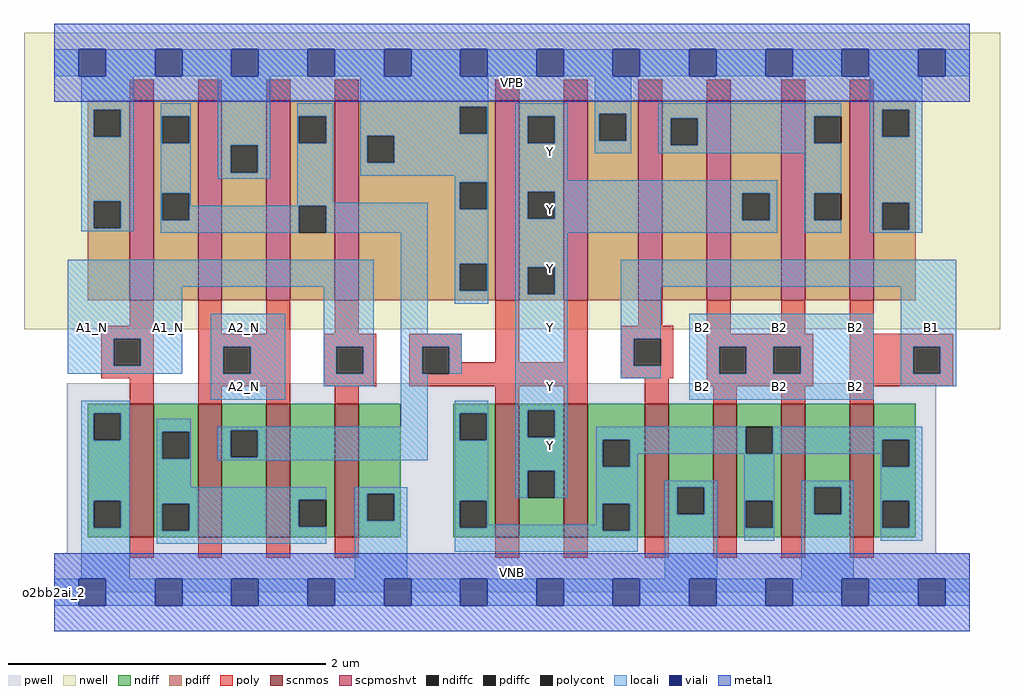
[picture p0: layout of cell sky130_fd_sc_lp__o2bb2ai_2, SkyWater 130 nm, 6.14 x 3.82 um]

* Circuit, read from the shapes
.subckt sky130_fd_sc_lp__o2bb2ai_2 A1_N A2_N B1 B2 VGND VNB VPB VPWR Y
XM1 n1 A1_N VGND VNB sky130_fd_pr__nfet_01v8 w=0.84 l=0.15 m=2
XM2 n2 A2_N n1 VNB sky130_fd_pr__nfet_01v8 w=0.84 l=0.15 m=2
XM3 Y n2 n3 VNB sky130_fd_pr__nfet_01v8 w=0.84 l=0.15 m=2
XM4 VGND B1 n3 VNB sky130_fd_pr__nfet_01v8 w=0.84 l=0.15 m=2
XM5 n3 B2 VGND VNB sky130_fd_pr__nfet_01v8 w=0.84 l=0.15 m=2
XM6 n2 A1_N VPWR VPB sky130_fd_pr__pfet_01v8_hvt w=1.26 l=0.15 m=2
XM7 VPWR A2_N n2 VPB sky130_fd_pr__pfet_01v8_hvt w=1.26 l=0.15 m=2
XM8 Y n2 VPWR VPB sky130_fd_pr__pfet_01v8_hvt w=1.26 l=0.15 m=2
XM9 n4 B1 VPWR VPB sky130_fd_pr__pfet_01v8_hvt w=1.26 l=0.15 m=2
XM10 Y B2 n4 VPB sky130_fd_pr__pfet_01v8_hvt w=1.26 l=0.15 m=2
.ends

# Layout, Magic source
magic
tech sky130A
magscale 1 2
<< nwell >>
rect -38 331 1190 704
<< pwell >>
rect 16 49 1110 263
rect 0 0 1152 49
<< scnmos >>
rect 95 69 125 237
rect 181 69 211 237
rect 267 69 297 237
rect 353 69 383 237
rect 555 69 585 237
rect 641 69 671 237
rect 743 69 773 237
rect 829 69 859 237
rect 915 69 945 237
rect 1001 69 1031 237
<< scpmoshvt >>
rect 95 367 125 619
rect 181 367 211 619
rect 267 367 297 619
rect 353 367 383 619
rect 555 367 585 619
rect 641 367 671 619
rect 735 367 765 619
rect 821 367 851 619
rect 915 367 945 619
rect 1001 367 1031 619
<< ndiff >>
rect 42 225 95 237
rect 42 191 50 225
rect 84 191 95 225
rect 42 115 95 191
rect 42 81 50 115
rect 84 81 95 115
rect 42 69 95 81
rect 125 202 181 237
rect 125 168 136 202
rect 170 168 181 202
rect 125 111 181 168
rect 125 77 136 111
rect 170 77 181 111
rect 125 69 181 77
rect 211 204 267 237
rect 211 170 222 204
rect 256 170 267 204
rect 211 69 267 170
rect 297 116 353 237
rect 297 82 308 116
rect 342 82 353 116
rect 297 69 353 82
rect 383 124 436 237
rect 383 90 394 124
rect 428 90 436 124
rect 383 69 436 90
rect 502 225 555 237
rect 502 191 510 225
rect 544 191 555 225
rect 502 115 555 191
rect 502 81 510 115
rect 544 81 555 115
rect 502 69 555 81
rect 585 229 641 237
rect 585 195 596 229
rect 630 195 641 229
rect 585 153 641 195
rect 585 119 596 153
rect 630 119 641 153
rect 585 69 641 119
rect 671 192 743 237
rect 671 158 690 192
rect 724 158 743 192
rect 671 111 743 158
rect 671 77 690 111
rect 724 77 743 111
rect 671 69 743 77
rect 773 132 829 237
rect 773 98 784 132
rect 818 98 829 132
rect 773 69 829 98
rect 859 208 915 237
rect 859 174 870 208
rect 904 174 915 208
rect 859 115 915 174
rect 859 81 870 115
rect 904 81 915 115
rect 859 69 915 81
rect 945 132 1001 237
rect 945 98 956 132
rect 990 98 1001 132
rect 945 69 1001 98
rect 1031 192 1084 237
rect 1031 158 1042 192
rect 1076 158 1084 192
rect 1031 115 1084 158
rect 1031 81 1042 115
rect 1076 81 1084 115
rect 1031 69 1084 81
<< pdiff >>
rect 42 607 95 619
rect 42 573 50 607
rect 84 573 95 607
rect 42 492 95 573
rect 42 458 50 492
rect 84 458 95 492
rect 42 367 95 458
rect 125 599 181 619
rect 125 565 136 599
rect 170 565 181 599
rect 125 502 181 565
rect 125 468 136 502
rect 170 468 181 502
rect 125 367 181 468
rect 211 562 267 619
rect 211 528 222 562
rect 256 528 267 562
rect 211 367 267 528
rect 297 599 353 619
rect 297 565 308 599
rect 342 565 353 599
rect 297 486 353 565
rect 297 452 308 486
rect 342 452 353 486
rect 297 367 353 452
rect 383 611 555 619
rect 383 577 510 611
rect 544 577 555 611
rect 383 574 555 577
rect 383 540 394 574
rect 428 540 555 574
rect 383 516 555 540
rect 383 482 510 516
rect 544 482 555 516
rect 383 413 555 482
rect 383 379 510 413
rect 544 379 555 413
rect 383 367 555 379
rect 585 599 641 619
rect 585 565 596 599
rect 630 565 641 599
rect 585 504 641 565
rect 585 470 596 504
rect 630 470 641 504
rect 585 409 641 470
rect 585 375 596 409
rect 630 375 641 409
rect 585 367 641 375
rect 671 602 735 619
rect 671 568 686 602
rect 720 568 735 602
rect 671 367 735 568
rect 765 596 821 619
rect 765 562 776 596
rect 810 562 821 596
rect 765 367 821 562
rect 851 502 915 619
rect 851 468 866 502
rect 900 468 915 502
rect 851 367 915 468
rect 945 599 1001 619
rect 945 565 956 599
rect 990 565 1001 599
rect 945 502 1001 565
rect 945 468 956 502
rect 990 468 1001 502
rect 945 367 1001 468
rect 1031 607 1084 619
rect 1031 573 1042 607
rect 1076 573 1084 607
rect 1031 490 1084 573
rect 1031 456 1042 490
rect 1076 456 1084 490
rect 1031 367 1084 456
<< ndiffc >>
rect 50 191 84 225
rect 50 81 84 115
rect 136 168 170 202
rect 136 77 170 111
rect 222 170 256 204
rect 308 82 342 116
rect 394 90 428 124
rect 510 191 544 225
rect 510 81 544 115
rect 596 195 630 229
rect 596 119 630 153
rect 690 158 724 192
rect 690 77 724 111
rect 784 98 818 132
rect 870 174 904 208
rect 870 81 904 115
rect 956 98 990 132
rect 1042 158 1076 192
rect 1042 81 1076 115
<< pdiffc >>
rect 50 573 84 607
rect 50 458 84 492
rect 136 565 170 599
rect 136 468 170 502
rect 222 528 256 562
rect 308 565 342 599
rect 308 452 342 486
rect 510 577 544 611
rect 394 540 428 574
rect 510 482 544 516
rect 510 379 544 413
rect 596 565 630 599
rect 596 470 630 504
rect 596 375 630 409
rect 686 568 720 602
rect 776 562 810 596
rect 866 468 900 502
rect 956 565 990 599
rect 956 468 990 502
rect 1042 573 1076 607
rect 1042 456 1076 490
<< poly >>
rect 95 619 125 645
rect 181 619 211 645
rect 267 619 297 645
rect 353 619 383 645
rect 555 619 585 645
rect 641 619 671 645
rect 735 619 765 645
rect 821 619 851 645
rect 915 619 945 645
rect 1001 619 1031 645
rect 95 335 125 367
rect 59 319 125 335
rect 59 285 75 319
rect 109 285 125 319
rect 59 269 125 285
rect 95 237 125 269
rect 181 325 211 367
rect 267 325 297 367
rect 353 325 383 367
rect 181 309 297 325
rect 181 275 213 309
rect 247 275 297 309
rect 181 259 297 275
rect 339 309 405 325
rect 339 275 355 309
rect 389 275 405 309
rect 339 259 405 275
rect 447 309 513 325
rect 447 275 463 309
rect 497 289 513 309
rect 555 289 585 367
rect 641 289 671 367
rect 735 335 765 367
rect 497 275 671 289
rect 447 259 671 275
rect 713 319 779 335
rect 713 285 729 319
rect 763 285 779 319
rect 713 269 779 285
rect 821 325 851 367
rect 915 325 945 367
rect 1001 325 1031 367
rect 821 309 955 325
rect 821 275 837 309
rect 871 275 905 309
rect 939 275 955 309
rect 181 237 211 259
rect 267 237 297 259
rect 353 237 383 259
rect 555 237 585 259
rect 641 237 671 259
rect 743 237 773 269
rect 821 259 955 275
rect 1001 309 1131 325
rect 1001 275 1081 309
rect 1115 275 1131 309
rect 1001 259 1131 275
rect 829 237 859 259
rect 915 237 945 259
rect 1001 237 1031 259
rect 95 43 125 69
rect 181 43 211 69
rect 267 43 297 69
rect 353 43 383 69
rect 555 43 585 69
rect 641 43 671 69
rect 743 43 773 69
rect 829 43 859 69
rect 915 43 945 69
rect 1001 43 1031 69
<< polycont >>
rect 75 285 109 319
rect 213 275 247 309
rect 355 275 389 309
rect 463 275 497 309
rect 729 285 763 319
rect 837 275 871 309
rect 905 275 939 309
rect 1081 275 1115 309
<< locali >>
rect 0 649 31 683
rect 65 649 127 683
rect 161 649 223 683
rect 257 649 319 683
rect 353 649 415 683
rect 449 649 511 683
rect 545 649 607 683
rect 641 649 703 683
rect 737 649 799 683
rect 833 649 895 683
rect 929 649 991 683
rect 1025 649 1087 683
rect 1121 649 1152 683
rect 34 607 100 649
rect 34 573 50 607
rect 84 573 100 607
rect 34 492 100 573
rect 34 458 50 492
rect 84 458 100 492
rect 34 454 100 458
rect 134 599 172 615
rect 134 565 136 599
rect 170 565 172 599
rect 134 502 172 565
rect 206 562 272 649
rect 206 528 222 562
rect 256 528 272 562
rect 206 520 272 528
rect 306 599 351 615
rect 306 565 308 599
rect 342 565 351 599
rect 134 468 136 502
rect 170 486 172 502
rect 306 490 351 565
rect 385 611 546 649
rect 385 577 510 611
rect 544 577 546 611
rect 385 574 546 577
rect 385 540 394 574
rect 428 540 546 574
rect 385 524 546 540
rect 504 516 546 524
rect 306 486 470 490
rect 170 468 308 486
rect 134 452 308 468
rect 342 452 470 486
rect 17 384 402 418
rect 17 319 161 384
rect 17 285 75 319
rect 109 285 161 319
rect 17 275 161 285
rect 197 309 291 350
rect 197 275 213 309
rect 247 275 291 309
rect 197 242 291 275
rect 339 309 402 384
rect 339 275 355 309
rect 389 275 402 309
rect 339 259 402 275
rect 436 325 470 452
rect 504 482 510 516
rect 544 482 546 516
rect 504 413 546 482
rect 504 379 510 413
rect 544 379 546 413
rect 504 363 546 379
rect 580 599 646 615
rect 580 565 596 599
rect 630 565 646 599
rect 580 518 646 565
rect 680 602 726 649
rect 680 568 686 602
rect 720 568 726 602
rect 680 552 726 568
rect 760 599 990 615
rect 760 596 956 599
rect 760 562 776 596
rect 810 565 956 596
rect 810 562 990 565
rect 760 552 990 562
rect 580 504 910 518
rect 580 470 596 504
rect 630 502 910 504
rect 630 470 866 502
rect 580 468 866 470
rect 900 468 910 502
rect 580 452 910 468
rect 944 502 990 552
rect 944 468 956 502
rect 944 452 990 468
rect 1026 607 1092 649
rect 1026 573 1042 607
rect 1076 573 1092 607
rect 1026 490 1092 573
rect 1026 456 1042 490
rect 1076 456 1092 490
rect 1026 452 1092 456
rect 580 409 646 452
rect 580 375 596 409
rect 630 375 646 409
rect 436 309 513 325
rect 436 275 463 309
rect 497 275 513 309
rect 34 225 95 241
rect 34 191 50 225
rect 84 191 95 225
rect 34 115 95 191
rect 34 81 50 115
rect 84 81 95 115
rect 34 17 95 81
rect 129 202 172 218
rect 436 208 470 275
rect 129 168 136 202
rect 170 168 172 202
rect 129 132 172 168
rect 206 204 470 208
rect 206 170 222 204
rect 256 170 470 204
rect 206 166 470 170
rect 504 225 546 241
rect 504 191 510 225
rect 544 191 546 225
rect 129 116 342 132
rect 129 111 308 116
rect 129 77 136 111
rect 170 82 308 111
rect 170 77 342 82
rect 129 61 342 77
rect 378 124 444 132
rect 378 90 394 124
rect 428 90 444 124
rect 378 17 444 90
rect 504 115 546 191
rect 580 229 646 375
rect 713 384 1135 418
rect 713 319 763 384
rect 713 285 729 319
rect 713 269 763 285
rect 799 309 1031 350
rect 799 275 837 309
rect 871 275 905 309
rect 939 275 1031 309
rect 799 242 1031 275
rect 1065 309 1135 384
rect 1065 275 1081 309
rect 1115 275 1135 309
rect 1065 259 1135 275
rect 580 195 596 229
rect 630 195 646 229
rect 580 153 646 195
rect 580 119 596 153
rect 630 119 646 153
rect 682 192 870 208
rect 682 158 690 192
rect 724 174 870 192
rect 904 192 1092 208
rect 904 174 1042 192
rect 724 158 734 174
rect 504 81 510 115
rect 544 85 546 115
rect 682 111 734 158
rect 682 85 690 111
rect 544 81 690 85
rect 504 77 690 81
rect 724 77 734 111
rect 504 51 734 77
rect 768 132 834 140
rect 768 98 784 132
rect 818 98 834 132
rect 768 17 834 98
rect 868 115 906 174
rect 1040 158 1042 174
rect 1076 158 1092 192
rect 868 81 870 115
rect 904 81 906 115
rect 868 65 906 81
rect 940 132 1006 140
rect 940 98 956 132
rect 990 98 1006 132
rect 940 17 1006 98
rect 1040 115 1092 158
rect 1040 81 1042 115
rect 1076 81 1092 115
rect 1040 65 1092 81
rect 0 -17 31 17
rect 65 -17 127 17
rect 161 -17 223 17
rect 257 -17 319 17
rect 353 -17 415 17
rect 449 -17 511 17
rect 545 -17 607 17
rect 641 -17 703 17
rect 737 -17 799 17
rect 833 -17 895 17
rect 929 -17 991 17
rect 1025 -17 1087 17
rect 1121 -17 1152 17
<< viali >>
rect 31 649 65 683
rect 127 649 161 683
rect 223 649 257 683
rect 319 649 353 683
rect 415 649 449 683
rect 511 649 545 683
rect 607 649 641 683
rect 703 649 737 683
rect 799 649 833 683
rect 895 649 929 683
rect 991 649 1025 683
rect 1087 649 1121 683
rect 31 -17 65 17
rect 127 -17 161 17
rect 223 -17 257 17
rect 319 -17 353 17
rect 415 -17 449 17
rect 511 -17 545 17
rect 607 -17 641 17
rect 703 -17 737 17
rect 799 -17 833 17
rect 895 -17 929 17
rect 991 -17 1025 17
rect 1087 -17 1121 17
<< metal1 >>
rect 0 683 1152 715
rect 0 649 31 683
rect 65 649 127 683
rect 161 649 223 683
rect 257 649 319 683
rect 353 649 415 683
rect 449 649 511 683
rect 545 649 607 683
rect 641 649 703 683
rect 737 649 799 683
rect 833 649 895 683
rect 929 649 991 683
rect 1025 649 1087 683
rect 1121 649 1152 683
rect 0 617 1152 649
rect 0 17 1152 49
rect 0 -17 31 17
rect 65 -17 127 17
rect 161 -17 223 17
rect 257 -17 319 17
rect 353 -17 415 17
rect 449 -17 511 17
rect 545 -17 607 17
rect 641 -17 703 17
rect 737 -17 799 17
rect 833 -17 895 17
rect 929 -17 991 17
rect 1025 -17 1087 17
rect 1121 -17 1152 17
rect 0 -49 1152 -17
<< labels >>
flabel pwell s 0 0 1152 49 0 FreeSans 200 0 0 0 VNB
port 6 nsew ground bidirectional
flabel nwell s 0 617 1152 666 0 FreeSans 200 0 0 0 VPB
port 7 nsew power bidirectional
rlabel comment s 0 0 0 0 4 o2bb2ai_2
flabel metal1 s 0 617 1152 666 0 FreeSans 340 0 0 0 VPWR
port 8 nsew power bidirectional
flabel metal1 s 0 0 1152 49 0 FreeSans 340 0 0 0 VGND
port 5 nsew ground bidirectional
flabel locali s 607 168 641 202 0 FreeSans 340 0 0 0 Y
port 9 nsew signal output
flabel locali s 607 242 641 276 0 FreeSans 340 0 0 0 Y
port 9 nsew signal output
flabel locali s 607 316 641 350 0 FreeSans 340 0 0 0 Y
port 9 nsew signal output
flabel locali s 607 390 641 424 0 FreeSans 340 0 0 0 Y
port 9 nsew signal output
flabel locali s 607 464 641 498 0 FreeSans 340 0 0 0 Y
port 9 nsew signal output
flabel locali s 607 538 641 572 0 FreeSans 340 0 0 0 Y
port 9 nsew signal output
flabel locali s 223 242 257 276 0 FreeSans 340 0 0 0 A2_N
port 2 nsew signal input
flabel locali s 223 316 257 350 0 FreeSans 340 0 0 0 A2_N
port 2 nsew signal input
flabel locali s 799 242 833 276 0 FreeSans 340 0 0 0 B2
port 4 nsew signal input
flabel locali s 799 316 833 350 0 FreeSans 340 0 0 0 B2
port 4 nsew signal input
flabel locali s 895 242 929 276 0 FreeSans 340 0 0 0 B2
port 4 nsew signal input
flabel locali s 895 316 929 350 0 FreeSans 340 0 0 0 B2
port 4 nsew signal input
flabel locali s 991 242 1025 276 0 FreeSans 340 0 0 0 B2
port 4 nsew signal input
flabel locali s 991 316 1025 350 0 FreeSans 340 0 0 0 B2
port 4 nsew signal input
flabel locali s 31 316 65 350 0 FreeSans 340 0 0 0 A1_N
port 1 nsew signal input
flabel locali s 127 316 161 350 0 FreeSans 340 0 0 0 A1_N
port 1 nsew signal input
flabel locali s 1087 316 1121 350 0 FreeSans 340 0 0 0 B1
port 3 nsew signal input
<< properties >>
string LEFsite unit
string LEFclass CORE
string FIXED_BBOX 0 0 1152 666
string GDS_FILE $PDKPATH/libs.ref/sky130_fd_sc_lp/gds/sky130_fd_sc_lp.gds
string LEFsymmetry X Y R90
string GDS_END 4090354
string GDS_START 4079916
<< end >>
